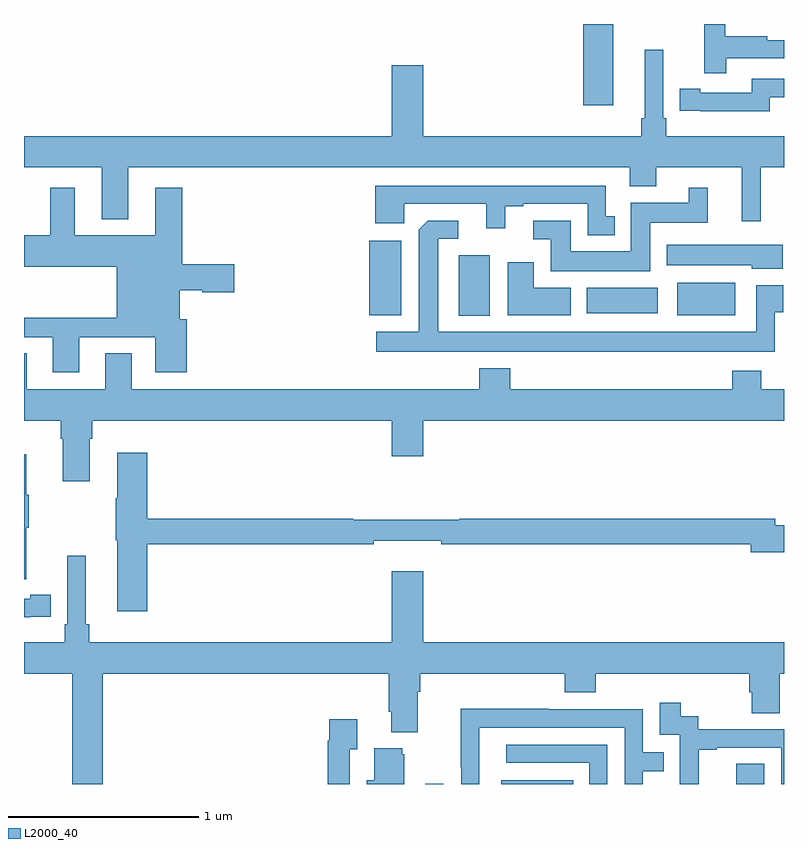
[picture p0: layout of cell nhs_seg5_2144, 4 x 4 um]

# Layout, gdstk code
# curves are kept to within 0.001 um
import gdstk
lib = gdstk.Library(unit=1e-6, precision=1e-09)
def R(c, l, rs):  # rectangles x0, y0, x1, y1
    for r in rs: c.add(gdstk.rectangle(r[:2], r[2:], *l))
def P(c, l, *ps):  # polygons
    for p in ps: c.add(gdstk.Polygon(p, *l))
L2000_40 = (2000, 40)

nhs_seg5_2144 = lib.new_cell('nhs_seg5_2144')
R(nhs_seg5_2144, L2000_40, [(237.111,902.799,237.207,902.8), (237.512,902.799,237.89,902.818), (238.749,902.799,238.896,902.905), (237.287,905.264,237.451,905.581), (236.816,905.267,236.986,905.659), (238.439,905.267,238.744,905.437), (237.962,905.276,238.336,905.41), (237.944,906.372,238.102,906.799)])
P(nhs_seg5_2144, L2000_40, [(238.697,906.618),(239,906.618),(239,906.714),(238.913,906.714),(238.913,906.734),(238.69,906.734),(238.69,906.799),(238.58,906.799),(238.58,906.54),(238.697,906.54)],
  [(238.877,906.044),(239,906.044),(239,906.208),(238.379,906.208),(238.379,906.304),(238.365,906.304),(238.365,906.664),(238.268,906.664),(238.268,906.304),(238.249,906.304),(238.249,906.208),(237.1,906.208),(237.1,906.583),(236.936,906.583),(236.936,906.208),(235,906.208),(235,906.044),(235.409,906.044),(235.409,905.771),(235.549,905.771),(235.549,906.044),(238.187,906.044),(238.187,905.945),(238.327,905.945),(238.327,906.044),(238.778,906.044),(238.778,905.76),(238.877,905.76)],
  [(238.926,906.414),(239,906.414),(239,906.51),(238.83,906.51),(238.83,906.438),(238.558,906.438),(238.558,906.458),(238.45,906.458),(238.45,906.342),(238.558,906.342),(238.558,906.341),(238.926,906.341)],
  [(238.108,905.787),(238.062,905.787),(238.062,905.949),(236.849,905.949),(236.849,905.75),(237,905.75),(237,905.853),(237.434,905.853),(237.434,905.724),(237.532,905.724),(237.532,905.841),(237.628,905.841),(237.628,905.853),(237.966,905.853),(237.966,905.687),(238.108,905.687)],
  [(235.291,905.151),(235.691,905.151),(235.691,904.965),(235.856,904.965),(235.856,905.244),(235.819,905.244),(235.819,905.399),(235.939,905.399),(235.939,905.387),(236.107,905.387),(236.107,905.534),(235.832,905.534),(235.832,905.938),(235.691,905.938),(235.691,905.686),(235.267,905.686),(235.267,905.938),(235.139,905.938),(235.139,905.686),(235,905.686),(235,905.522),(235.487,905.522),(235.487,905.252),(235,905.252),(235,905.151),(235.151,905.151),(235.151,904.965),(235.291,904.965)],
  [(238.297,905.753),(238.598,905.753),(238.598,905.938),(238.499,905.938),(238.499,905.857),(238.193,905.857),(238.193,905.602),(237.877,905.602),(237.877,905.763),(237.681,905.763),(237.681,905.667),(237.773,905.667),(237.773,905.498),(238.297,905.498)],
  [(238.951,905.281),(238.996,905.281),(238.996,905.425),(238.854,905.425),(238.854,905.179),(237.181,905.179),(237.181,905.67),(237.286,905.67),(237.286,905.763),(237.124,905.763),(237.078,905.717),(237.077,905.179),(236.853,905.179),(236.853,905.075),(238.951,905.075)],
  [(238.993,905.638),(238.382,905.638),(238.382,905.528),(238.83,905.528),(238.83,905.51),(238.993,905.51)],
  [(237.877,905.41),(237.682,905.41),(237.682,905.545),(237.545,905.545),(237.545,905.267),(237.877,905.267)],
  [(239,904.876),(238.879,904.876),(238.879,904.975),(238.727,904.975),(238.727,904.876),(237.56,904.876),(237.56,904.987),(237.395,904.987),(237.395,904.876),(235.567,904.876),(235.567,905.066),(235.427,905.066),(235.427,904.876),(235.015,904.876),(235.015,905.066),(235,905.066),(235,904.712),(235.193,904.712),(235.193,904.616),(235.205,904.616),(235.205,904.392),(235.345,904.392),(235.345,904.616),(235.358,904.616),(235.358,904.712),(236.936,904.712),(236.936,904.524),(237.1,904.524),(237.1,904.712),(239,904.712)],
  [(235.649,904.06),(236.84,904.06),(236.84,904.079),(237.196,904.079),(237.196,904.06),(238.826,904.06),(238.826,904.018),(239,904.018),(239,904.16),(238.954,904.16),(238.954,904.196),(237.291,904.196),(237.291,904.189),(236.732,904.189),(236.732,904.196),(235.649,904.196),(235.649,904.543),(235.49,904.543),(235.49,904.304),(235.483,904.304),(235.483,904.083),(235.49,904.083),(235.49,903.708),(235.649,903.708)],
  [(235.013,904.147),(235.024,904.147),(235.024,904.321),(235.013,904.321),(235.013,904.534),(235,904.534),(235,903.876),(235.013,903.876)],
  [(235.415,903.38),(236.921,903.38),(236.921,903.178),(236.933,903.178),(236.933,903.071),(237.073,903.071),(237.073,903.284),(237.086,903.284),(237.086,903.38),(237.845,903.38),(237.845,903.281),(238.01,903.281),(238.01,903.38),(238.817,903.38),(238.817,903.282),(238.829,903.282),(238.829,903.172),(238.977,903.172),(238.977,903.38),(239,903.38),(239,903.544),(237.1,903.544),(237.1,903.919),(236.936,903.919),(236.936,903.544),(235.343,903.544),(235.343,903.64),(235.324,903.64),(235.324,904),(235.227,904),(235.227,903.64),(235.214,903.64),(235.214,903.544),(235,903.544),(235,903.38),(235.255,903.38),(235.255,902.799),(235.415,902.799)],
  [(235.034,903.678),(235.142,903.678),(235.142,903.794),(235.034,903.794),(235.034,903.774),(235,903.774),(235,903.677),(235.034,903.677)],
  [(238.55,902.979),(238.645,902.979),(238.645,902.991),(238.986,902.991),(238.986,902.799),(239,902.799),(239,903.087),(238.548,903.087),(238.548,903.156),(238.456,903.156),(238.456,903.226),(238.347,903.226),(238.347,903.057),(238.452,903.057),(238.452,902.828),(238.451,902.828),(238.451,902.799),(238.55,902.799)],
  [(237.396,903.096),(238.161,903.096),(238.161,902.799),(238.257,902.799),(238.257,902.866),(238.367,902.866),(238.367,902.967),(238.257,902.967),(238.257,903.192),(237.761,903.192),(237.761,903.194),(237.298,903.194),(237.298,902.887),(237.3,902.887),(237.3,902.799),(237.396,902.799)],
  [(236.715,902.983),(236.755,902.983),(236.755,903.139),(236.607,903.139),(236.607,903.026),(236.599,903.026),(236.599,902.799),(236.715,902.799)],
  [(238.071,903.006),(237.537,903.006),(237.537,902.91),(237.975,902.91),(237.975,902.799),(238.071,902.799)],
  [(237.001,902.955),(236.99,902.955),(236.99,902.986),(236.843,902.986),(236.843,902.818),(236.804,902.818),(236.804,902.799),(237.001,902.799)])

lib.write_gds('nhs_seg5_2144.gds')
